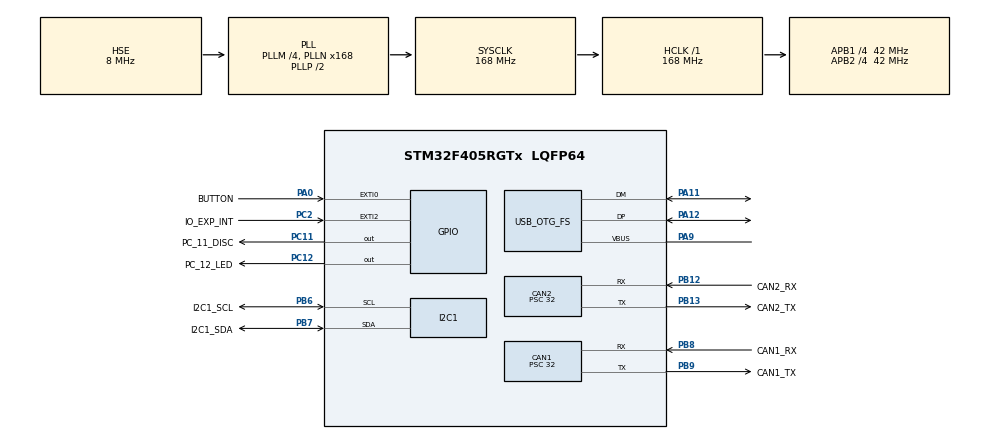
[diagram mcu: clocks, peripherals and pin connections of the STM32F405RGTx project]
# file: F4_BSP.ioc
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CAN1.BS1=CAN_BS1_3TQ
CAN1.BS2=CAN_BS2_5TQ
CAN1.CalculateTimeBit=6857
CAN1.CalculateTimeQuantum=761.9047619047619
CAN1.Prescaler=32
CAN2.BS1=CAN_BS1_3TQ
CAN2.BS2=CAN_BS2_5TQ
CAN2.CalculateTimeBit=6857
CAN2.CalculateTimeQuantum=761.9047619047619
CAN2.Prescaler=32
Dma.I2C1_RX.1.Direction=DMA_PERIPH_TO_MEMORY
Dma.I2C1_RX.1.FIFOMode=DMA_FIFOMODE_DISABLE
Dma.I2C1_RX.1.Instance=DMA1_Stream5
Dma.I2C1_RX.1.MemDataAlignment=DMA_MDATAALIGN_BYTE
Dma.I2C1_RX.1.MemInc=DMA_MINC_ENABLE
Dma.I2C1_RX.1.Mode=DMA_CIRCULAR
Dma.I2C1_RX.1.PeriphDataAlignment=DMA_PDATAALIGN_BYTE
Dma.I2C1_RX.1.PeriphInc=DMA_PINC_DISABLE
Dma.I2C1_RX.1.Priority=DMA_PRIORITY_LOW
Dma.I2C1_TX.0.Direction=DMA_MEMORY_TO_PERIPH
Dma.I2C1_TX.0.FIFOMode=DMA_FIFOMODE_DISABLE
Dma.I2C1_TX.0.Instance=DMA1_Stream6
Dma.I2C1_TX.0.MemDataAlignment=DMA_MDATAALIGN_BYTE
Dma.I2C1_TX.0.MemInc=DMA_MINC_ENABLE
Dma.I2C1_TX.0.Mode=DMA_CIRCULAR
Dma.I2C1_TX.0.PeriphDataAlignment=DMA_PDATAALIGN_BYTE
Dma.I2C1_TX.0.PeriphInc=DMA_PINC_DISABLE
Dma.I2C1_TX.0.Priority=DMA_PRIORITY_LOW
Dma.Request0=I2C1_TX
Dma.Request1=I2C1_RX
I2C1.I2C_Mode=I2C_Fast
Mcu.Family=STM32F4
Mcu.Name=STM32F405RGTx
Mcu.Package=LQFP64
NVIC.CAN1_RX0_IRQn=true\:0\:0\:false\:false\:true\:true
NVIC.CAN2_RX0_IRQn=true\:0\:0\:false\:false\:true\:true
NVIC.DMA1_Stream5_IRQn=true\:0\:0\:false\:false\:true\:true
NVIC.DMA1_Stream6_IRQn=true\:0\:0\:false\:false\:true\:true
NVIC.EXTI0_IRQn=true\:4\:0\:true\:false\:true\:true
NVIC.EXTI2_IRQn=true\:2\:0\:true\:false\:true\:true
NVIC.I2C1_EV_IRQn=true\:0\:0\:false\:false\:true\:true
NVIC.OTG_FS_IRQn=true\:1\:0\:true\:false\:true\:true
NVIC.PriorityGroup=NVIC_PRIORITYGROUP_4
NVIC.RCC_IRQn=true\:0\:0\:false\:false\:true\:true
NVIC.TIM2_IRQn=true\:3\:0\:true\:false\:true\:true
NVIC.TIM3_IRQn=true\:5\:0\:true\:false\:true\:true
PA0-WKUP.GPIO_Label=BUTTON
PA0-WKUP.GPIO_ModeDefaultEXTI=GPIO_MODE_IT_RISING_FALLING
PA0-WKUP.Signal=GPXTI0
PA11.GPIO_Mode=GPIO_MODE_AF_PP
PA11.GPIO_PuPd=GPIO_NOPULL
PA11.GPIO_Speed=GPIO_SPEED_FREQ_VERY_HIGH
PA11.Mode=Device_Only
PA11.Signal=USB_OTG_FS_DM
PA12.GPIO_Speed=GPIO_SPEED_FREQ_VERY_HIGH
PA12.Mode=Device_Only
PA12.Signal=USB_OTG_FS_DP
PA13.Mode=JTAG_5_pins
PA13.Signal=SYS_JTMS-SWDIO
PA14.Mode=JTAG_5_pins
PA14.Signal=SYS_JTCK-SWCLK
PA15.Mode=JTAG_5_pins
PA15.Signal=SYS_JTDI
PA9.Mode=Activate_VBUS
PA9.Signal=USB_OTG_FS_VBUS
PB12.GPIO_Label=CAN2_RX
PB12.GPIO_PuPd=GPIO_PULLUP
PB12.Mode=Slave
PB12.Signal=CAN2_RX
PB13.GPIO_Label=CAN2_TX
PB13.Mode=Slave
PB13.Signal=CAN2_TX
PB3.Mode=JTAG_5_pins
PB3.Signal=SYS_JTDO-SWO
PB4.Mode=JTAG_5_pins
PB4.Signal=SYS_JTRST
PB6.GPIO_Label=I2C1_SCL
PB6.Mode=I2C
PB6.Signal=I2C1_SCL
PB7.GPIO_Label=I2C1_SDA
PB7.Mode=I2C
PB7.Signal=I2C1_SDA
PB8.GPIO_Label=CAN1_RX
PB8.GPIO_PuPd=GPIO_PULLUP
PB8.Mode=Master
PB8.Signal=CAN1_RX
PB9.GPIO_Label=CAN1_TX
PB9.Mode=Master
PB9.Signal=CAN1_TX
PC11.GPIO_Label=PC_11_DISC
PC11.GPIO_ModeDefaultOutputPP=GPIO_MODE_OUTPUT_PP
PC11.GPIO_PuPd=GPIO_NOPULL
PC11.GPIO_Speed=GPIO_SPEED_FREQ_LOW
PC11.PinState=GPIO_PIN_RESET
PC11.Signal=GPIO_Output
PC12.GPIO_Label=PC_12_LED
PC12.GPIO_ModeDefaultOutputPP=GPIO_MODE_OUTPUT_PP
PC12.GPIO_PuPd=GPIO_NOPULL
PC12.GPIO_Speed=GPIO_SPEED_FREQ_LOW
PC12.PinState=GPIO_PIN_RESET
PC12.Signal=GPIO_Output
PC14-OSC32_IN.Signal=RCC_OSC32_IN
PC15-OSC32_OUT.Signal=RCC_OSC32_OUT
PC2.GPIO_Label=IO_EXP_INT
PC2.GPIO_PuPd=GPIO_PULLUP
PC2.Signal=GPXTI2
PH0-OSC_IN.Mode=HSE-External-Oscillator
PH0-OSC_IN.Signal=RCC_OSC_IN
PH1-OSC_OUT.Mode=HSE-External-Oscillator
PH1-OSC_OUT.Signal=RCC_OSC_OUT
ProjectManager.HeapSize=0x200
ProjectManager.StackSize=0x400
ProjectManager.TargetToolchain=SW4STM32
RCC.48MHZClocksFreq_Value=48000000
RCC.AHBFreq_Value=168000000
RCC.APB1CLKDivider=RCC_HCLK_DIV4
RCC.APB1Freq_Value=42000000
RCC.APB1TimFreq_Value=84000000
RCC.APB2CLKDivider=RCC_HCLK_DIV4
RCC.APB2Freq_Value=42000000
RCC.APB2TimFreq_Value=84000000
RCC.CortexFreq_Value=168000000
RCC.HCLKFreq_Value=168000000
RCC.HSE_VALUE=8000000
RCC.HSI_VALUE=16000000
RCC.LSE_VALUE=0.000032767999999999995
RCC.PLLM=4
RCC.PLLN=168
RCC.PLLQ=7
RCC.SYSCLKFreq_VALUE=168000000
RCC.SYSCLKSource=RCC_SYSCLKSOURCE_PLLCLK
RCC.VCOOutputFreq_Value=336000000
TIM2.Period=3999
TIM2.Prescaler=42000
TIM3.Period=9999
TIM3.Prescaler=42000
USB_DEVICE.APP_RX_DATA_SIZE-CDC_FS=64
USB_DEVICE.APP_TX_DATA_SIZE-CDC_FS=64
USB_DEVICE.CLASS_NAME_FS=CDC
USB_DEVICE.LANGID_STRING-CDC_FS=1040
USB_DEVICE.VirtualMode-CDC_FS=Cdc
USB_DEVICE.VirtualModeFS=Cdc_FS
USB_OTG_FS.VirtualMode=Device_Only
USB_OTG_FS.vbus_sensing_enable=ENABLE
VP_RTC_VS_RTC_Activate.Mode=RTC_Enabled
VP_TIM2_VS_ClockSourceINT.Mode=Internal
VP_TIM3_VS_ClockSourceINT.Mode=Internal
VP_USB_DEVICE_VS_USB_DEVICE_CDC_FS.Mode=CDC_FS
board=F4_BSP

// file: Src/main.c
/**
  ******************************************************************************
  * @file           : main.c
  * @brief          : Main program body
  ******************************************************************************
  * This notice applies to any and all portions of this file
  * that are not between comment pairs USER CODE BEGIN and
  * USER CODE END. Other portions of this file, whether
  * inserted by the user or by software development tools
  * are owned by their respective copyright owners.
  *
  * Copyright (c) 2018 STMicroelectronics International N.V.
  * All rights reserved.
  *
  * Redistribution and use in source and binary forms, with or without
  * modification, are permitted, provided that the following conditions are met:
  *
  * 1. Redistribution of source code must retain the above copyright notice,
  *    this list of conditions and the following disclaimer.
  * 2. Redistributions in binary form must reproduce the above copyright notice,
  *    this list of conditions and the following disclaimer in the documentation
  *    and/or other materials provided with the distribution.
  * 3. Neither the name of STMicroelectronics nor the names of other
  *    contributors to this software may be used to endorse or promote products
  *    derived from this software without specific written permission.
  * 4. This software, including modifications and/or derivative works of this
  *    software, must execute solely and exclusively on microcontroller or
  *    microprocessor devices manufactured by or for STMicroelectronics.
  * 5. Redistribution and use of this software other than as permitted under
  *    this license is void and will automatically terminate your rights under
  *    this license.
  *
  * THIS SOFTWARE IS PROVIDED BY STMICROELECTRONICS AND CONTRIBUTORS "AS IS"
  * AND ANY EXPRESS, IMPLIED OR STATUTORY WARRANTIES, INCLUDING, BUT NOT
  * LIMITED TO, THE IMPLIED WARRANTIES OF MERCHANTABILITY, FITNESS FOR A
  * PARTICULAR PURPOSE AND NON-INFRINGEMENT OF THIRD PARTY INTELLECTUAL PROPERTY
  * RIGHTS ARE DISCLAIMED TO THE FULLEST EXTENT PERMITTED BY LAW. IN NO EVENT
  * SHALL STMICROELECTRONICS OR CONTRIBUTORS BE LIABLE FOR ANY DIRECT, INDIRECT,
  * INCIDENTAL, SPECIAL, EXEMPLARY, OR CONSEQUENTIAL DAMAGES (INCLUDING, BUT NOT
  * LIMITED TO, PROCUREMENT OF SUBSTITUTE GOODS OR SERVICES; LOSS OF USE, DATA,
  * OR PROFITS; OR BUSINESS INTERRUPTION) HOWEVER CAUSED AND ON ANY THEORY OF
  * LIABILITY, WHETHER IN CONTRACT, STRICT LIABILITY, OR TORT (INCLUDING
  * NEGLIGENCE OR OTHERWISE) ARISING IN ANY WAY OUT OF THE USE OF THIS SOFTWARE,
  * EVEN IF ADVISED OF THE POSSIBILITY OF SUCH DAMAGE.
  *
  ******************************************************************************
  */
#include "main.h"
#include "stm32f4xx_hal.h"
#include "can.h"
#include "dma.h"
#include "i2c.h"
#include "rtc.h"
#include "tim.h"
#include "usb_device.h"
#include "gpio.h"

/* USER CODE BEGIN Includes */
#include "usbd_cdc_if.h"
#include "mcp23017.h"
#include "Drivers/LSM9DS1-Driver/LSM9DS1_Driver.h"
#include "MotionFX_Manager.h"
#include "motion_fx.h"
#include <math.h>
#include <sys/time.h>
#include <inttypes.h>
/* USER CODE END Includes */

/* USER CODE BEGIN PV */
/* Private variables ---------------------------------------------------------*/
#define SAMPLE_FREQ                     ((uint8_t)100)  /* [Hz] */
#define SAMPLE_PERIOD                   ((uint8_t)10)   /* [ms] */
#define MOTIONFX_ENGINE_DELTATIME       0.01f

#define LCD_BUFF_LEN (100)

typedef enum {
	HIGH_COMPUTATION_MODE = 1,
	LOW_COMPUTATION_MODE = 0,
	TEST_COMPUTATION_MODE= 2,
	TEST_SPEED_MODE = 3
}COMPUTATION_MODE;

typedef enum{
	MODE_9DOF = 1,
	MODE_6DOF = 0,
}DOF;

typedef enum{
	USB_SPEED_TEST = 1,
	I2C_SPEED_TEST =2
}SPEED;

#define ComputationMode					TEST_COMPUTATION_MODE
#define DOF_MODE						MODE_6DOF
#define TEST_MODE						USB_SPEED_TEST

#define HighComputationDecimation		1

HAL_StatusTypeDef mystatus = HAL_OK;

bool secondrow = false;
bool lcl_mems_data_rdy  = false;
bool display_mems_data  = false;
bool send_lcl_mems_data  = false;
bool rmt_mems_data_rdy  = false;
int64_t MEMS_LclData;
int64_t MEMS_RmtData;						//R: Remote

uint8_t dataseq[LCD_BUFF_LEN];
uint8_t dataseq1[LCD_BUFF_LEN];
uint8_t command = 0x0;
uint8_t toggle = 0x0;

MFX_input_t data_in;
MFX_output_t data_out;
MFX_MagCal_input_t mag_in;
MFX_MagCal_output_t mag_out;

int  tempComputation=1;
char data[128];
char timer[32];
int flag=0;
int flag2=0;
int count=1;
int skipped=0;
int id=1;
/* USER CODE END PV */

void SystemClock_Config(void);

/* USER CODE BEGIN PFP */
/* Private function prototypes -----------------------------------------------*/
//extern void initialise_monitor_handles(void);

/* USER CODE END PFP */

int main(void)
{

  /* MCU Configuration----------------------------------------------------------*/

  /* Reset of all peripherals, Initializes the Flash interface and the Systick. */
  HAL_Init();

  /* Configure the system clock */
  SystemClock_Config();

  /* Initialize all configured peripherals */
  MX_GPIO_Init();
  MX_DMA_Init();
  MX_RTC_Init();
  MX_USB_DEVICE_Init();
  MX_CAN1_Init();
  MX_CAN2_Init();
  MX_I2C1_Init();
  MX_TIM2_Init();
  MX_TIM3_Init();
  /* USER CODE BEGIN 2 */
  HAL_NVIC_ClearPendingIRQ(EXTI0_IRQn);
  HAL_NVIC_ClearPendingIRQ(EXTI1_IRQn);
  HAL_NVIC_ClearPendingIRQ(EXTI2_IRQn);
  HAL_NVIC_ClearPendingIRQ(EXTI3_IRQn);
  HAL_NVIC_ClearPendingIRQ(EXTI4_IRQn);
  HAL_NVIC_ClearPendingIRQ(I2C1_EV_IRQn);
  HAL_NVIC_ClearPendingIRQ(TIM3_IRQn);

  HAL_GPIO_WritePin(PC_11_DISC_GPIO_Port, PC_11_DISC_Pin, GPIO_PIN_RESET);	//Pull-up Enable on USBDP (Only for Olimex STM32-H405 Board)

  __CRC_CLK_ENABLE();

  LSM9DS1_State_Connection testConnection= LSM9DS1_ERROR;
  testConnection=LSM9DS1_IsConnected();
  LSM9DS1_XLG_TurnOff();

  if(DOF_MODE==MODE_9DOF){
	  LSM9DS1_XLG_READ start= LSM9DS1_XLGM_Start(119,40,245,8,8);
	  MotionFX_manager_init(MODE_9DOF);
  }
  else{
	  LSM9DS1_XLG_READ start= LSM9DS1_XLG_Start(119,245,2);
	  MotionFX_manager_init(MODE_6DOF);
  }

  /* USER CODE END 2 */

  /* Infinite loop */
  /* USER CODE BEGIN WHILE */

  	 //start when button is pressed
	 while (HAL_GPIO_ReadPin(GPIOA, GPIO_PIN_0)){};

	 if(ComputationMode == TEST_COMPUTATION_MODE){
		 // Use test computation mode
		 TestComputationMode();
	 }
	 else if (ComputationMode == HIGH_COMPUTATION_MODE){
		// Use in High computation mode
		 HighComputationMode();
	 }
	 else if (ComputationMode == LOW_COMPUTATION_MODE){

		 LowComputationMode();
	 }

	 else if(ComputationMode == TEST_SPEED_MODE){

		 SpeedTestMode();
	 }

  /* USER CODE END WHILE */

}

void SystemClock_Config(void)
{

  RCC_OscInitTypeDef RCC_OscInitStruct;
  RCC_ClkInitTypeDef RCC_ClkInitStruct;
  RCC_PeriphCLKInitTypeDef PeriphClkInitStruct;

    /**Configure the main internal regulator output voltage
    */
  __HAL_RCC_PWR_CLK_ENABLE();

  __HAL_PWR_VOLTAGESCALING_CONFIG(PWR_REGULATOR_VOLTAGE_SCALE1);

    /**Initializes the CPU, AHB and APB busses clocks
    */
  RCC_OscInitStruct.OscillatorType = RCC_OSCILLATORTYPE_LSI|RCC_OSCILLATORTYPE_HSE;
  RCC_OscInitStruct.HSEState = RCC_HSE_ON;
  RCC_OscInitStruct.LSIState = RCC_LSI_ON;
  RCC_OscInitStruct.PLL.PLLState = RCC_PLL_ON;
  RCC_OscInitStruct.PLL.PLLSource = RCC_PLLSOURCE_HSE;
  RCC_OscInitStruct.PLL.PLLM = 4;
  RCC_OscInitStruct.PLL.PLLN = 168;
  RCC_OscInitStruct.PLL.PLLP = RCC_PLLP_DIV2;
  RCC_OscInitStruct.PLL.PLLQ = 7;
  if (HAL_RCC_OscConfig(&RCC_OscInitStruct) != HAL_OK)
  {
    _Error_Handler(__FILE__, __LINE__);
  }

    /**Initializes the CPU, AHB and APB busses clocks
    */
  RCC_ClkInitStruct.ClockType = RCC_CLOCKTYPE_HCLK|RCC_CLOCKTYPE_SYSCLK
                              |RCC_CLOCKTYPE_PCLK1|RCC_CLOCKTYPE_PCLK2;
  RCC_ClkInitStruct.SYSCLKSource = RCC_SYSCLKSOURCE_PLLCLK;
  RCC_ClkInitStruct.AHBCLKDivider = RCC_SYSCLK_DIV1;
  RCC_ClkInitStruct.APB1CLKDivider = RCC_HCLK_DIV4;
  RCC_ClkInitStruct.APB2CLKDivider = RCC_HCLK_DIV4;

  if (HAL_RCC_ClockConfig(&RCC_ClkInitStruct, FLASH_LATENCY_5) != HAL_OK)
  {
    _Error_Handler(__FILE__, __LINE__);
  }

  PeriphClkInitStruct.PeriphClockSelection = RCC_PERIPHCLK_RTC;
  PeriphClkInitStruct.RTCClockSelection = RCC_RTCCLKSOURCE_LSI;
  if (HAL_RCCEx_PeriphCLKConfig(&PeriphClkInitStruct) != HAL_OK)
  {
    _Error_Handler(__FILE__, __LINE__);
  }

    /**Configure the Systick interrupt time
    */
  HAL_SYSTICK_Config(HAL_RCC_GetHCLKFreq()/1000);

    /**Configure the Systick
    */
  HAL_SYSTICK_CLKSourceConfig(SYSTICK_CLKSOURCE_HCLK);

  /* SysTick_IRQn interrupt configuration */
  HAL_NVIC_SetPriority(SysTick_IRQn, 0, 0);
}

/* USER CODE BEGIN 4 */

void handler(){

	flag=1;
}

void magCall(){
	flag2=1;
}

void HighComputationMode(){

	 HAL_TIM_Base_Start_IT(&htim3);
	 		while(1)
	 			{
	 			  if(flag==1)
	 			  	{

	 				  HAL_NVIC_DisableIRQ(TIM3_IRQn);

	 				  //prepare packet
	 				  if(DOF_MODE == MODE_6DOF)
	 				  	{
	 					  LSM9DS1_Read_XLG(&data_in,1);
	 					  MotionFX_manager_run(&data_in,&data_out,MFX_DELTATIME);
	 					  snprintf(data, 25, "%3.1f;%3.1f;%3.1f\n",
	 										  data_out.rotation_6X[0],data_out.rotation_6X[1],data_out.rotation_6X[2]);
	 				  	}
	 				  	else
	 				  	{
	 				  		LSM9DS1_Read_XLGM(&data_in,1);
	 				  		MotionFX_manager_run(&data_in,&data_out,MFX_DELTATIME);
	 				  		snprintf(data, 25, "%3.1f;%3.1f;%3.1f\n",
	 				  			 			 	data_out.rotation_9X[0],data_out.rotation_9X[1],data_out.rotation_9X[2]);
	 				  	}

	 			  	  //transmit data
	 			  	  CDC_Transmit_FS((uint8_t *)data,strlen(data));
	 			  	  flag=0;
	 			  	  HAL_NVIC_EnableIRQ(TIM3_IRQn);
	 			  	  }

	 			}

}

void LowComputationMode(){

	HAL_TIM_Base_Start_IT(&htim3);
			while(1)
				{
				  if(flag==1)
				  	{

					  HAL_NVIC_DisableIRQ(TIM3_IRQn);

					  if(DOF_MODE == MODE_6DOF)
					  	{

						  LSM9DS1_Read_XLG(&data_in,1);

						  snprintf(data, 64, "%.3f;%.3f;%.3f|%3.1f;%3.1f;%3.1f\n",
											   data_in.acc[0], data_in.acc[1], data_in.acc[2],
											   data_in.gyro[0],data_in.gyro[1],data_in.gyro[2]);
					  	}
					  	else
					  	{
					  		 LSM9DS1_Read_XLGM(&data_in,1);
					  		 snprintf(data, 64, "%.3f;%.3f;%.3f|%3.1f;%3.1f;%3.1f|%3.1f;%3.1f;%3.1f\n",
					  							data_in.acc[0], data_in.acc[1], data_in.acc[2],
					  							data_in.gyro[0],data_in.gyro[1],data_in.gyro[2],
												data_in.mag[0],data_in.mag[1],data_in.mag[2]);
					  	}

				  	  //transmit data
				  	  CDC_Transmit_FS((uint8_t *)data,strlen(data));
				  	  flag=0;
				  	  HAL_NVIC_EnableIRQ(TIM3_IRQn);
				  	  }
				}

}

void TestComputationMode(){

	HAL_TIM_Base_Start_IT(&htim3);
	HAL_TIM_Base_Start_IT(&htim2);

		while(1)
			{
			  if(flag==1)
			  	{

				  HAL_NVIC_DisableIRQ(TIM3_IRQn);

				  //prepare packet
				  if(DOF_MODE == MODE_6DOF)
				  	{
					  LSM9DS1_Read_XLG(&data_in,1);
					  MotionFX_manager_run(&data_in,&data_out,MFX_DELTATIME);
					  snprintf(data, 128, "%.3f;%.3f;%.3f|%.3f;%.3f;%.3f|%3.1f;%3.1f;%3.1f\n",
										   data_in.acc[0], data_in.acc[1], data_in.acc[2],
										   data_in.gyro[0],data_in.gyro[1],data_in.gyro[2],
										   data_out.rotation_6X[0],data_out.rotation_6X[1],data_out.rotation_6X[2]);
				  	}
				  	else
				  	{

				  		LSM9DS1_Read_XLGM(&data_in,1);
				  		if(flag2==1){
				  		  HAL_NVIC_DisableIRQ(TIM2_IRQn);
				  			mag_in.mag[0]=data_in.mag[0]/50;
				  			mag_in.mag[1]=data_in.mag[1]/50;
				  			mag_in.mag[2]=data_in.mag[2]/50;
				  			mag_in.time_stamp=0;
				  			MotionFX_MagCal_run(&mag_in);
				  			MotionFX_MagCal_getParams(&mag_out);
				  			if(mag_out.cal_quality !=  MFX_MAGCALPOOR){
				  				data_in.mag[0]=mag_in.mag[0]-mag_out.hi_bias[0];
				  				data_in.mag[1]=mag_in.mag[1]-mag_out.hi_bias[1];
				  				data_in.mag[2]=mag_in.mag[2]-mag_out.hi_bias[2];
				  			}

				  		flag2=0;
				  		HAL_NVIC_EnableIRQ(TIM2_IRQn);
				  		}

				  		MotionFX_manager_run(&data_in,&data_out,MFX_DELTATIME);
				  		snprintf(data, 128, "%.3f;%.3f;%.3f|%3.1f;%3.1f;%3.1f|%3.1f;%3.1f;%3.1f|%3.1f;%3.1f;%3.1f\n",
				  							data_in.acc[0], data_in.acc[1], data_in.acc[2],
				  							data_in.gyro[0],data_in.gyro[1],data_in.gyro[2],
											data_in.mag[0],data_in.mag[1],data_in.mag[2],
				  							data_out.rotation_9X[0],data_out.rotation_9X[1],data_out.rotation_9X[2]);
				  	}

			  	  //transmit data
			  	  CDC_Transmit_FS((uint8_t *)data,strlen(data));
			  	  flag=0;

			  	  HAL_NVIC_EnableIRQ(TIM3_IRQn);
			  	  }

			}

}

void SpeedTestMode(){

	//Test I2C speed
	 uint32_t t0,t1;
	 t1=0;
	 id=0;
	 int lost=0;
	 uint8_t result;
	 if(TEST_MODE == USB_SPEED_TEST){
		 t0=HAL_GetTick();
		 	 while(1){
		 		     if(id<1000){

		 		    	     if(!I2C_ReadData(LSM9DS1_I2C_BADD,LSM9DS1_WHO_AM_I,&result,1)){
		 		    	    	 if( result == LSM9DS1_WHO_AM_I_VALUE)
		 		    	    		 				  id++;
		 		    	     }
		 		 			  else
		 		 			  {
		 		 				  lost++;
		 		 			  }

		 		 			  if(id==1000)
		 		 			  {
		 		 				  t1=HAL_GetTick()-t0;
		 		 				  HAL_Delay(2);
		 		 				  snprintf(data, 10, "%Lu",t1);
		 		 				  CDC_Transmit_FS((uint8_t *)data,strlen(data));
		 		 			  }
		 		 		  }
		 	 }
	 }
	 else{
		 //Test usb CDC speed
		 t0=HAL_GetTick();
		 while(1){
			 snprintf(data, 10, "%d|%d\n",id,lost);
			 if(id<1000){
				if(CDC_Transmit_FS((uint8_t *)data,strlen(data))== USBD_OK){
					id++;
				}
				else{
					 lost++;
				}
				if(id==1000){
					t1=HAL_GetTick()-t0;
					HAL_Delay(2);
					snprintf(data, 10, "%Lu\n",t1);
					CDC_Transmit_FS((uint8_t *)data,strlen(data));
						  }
					  }
				  }

	 }

}
/*! ------------------------------------------------------------------------------------------------------------------
 * Function: process_timer3_irq(void)
 *
 * Timer3 Interrupt Handler; Executed when Timer3 expires
 */
/* USER CODE END 4 */

void _Error_Handler(char *file, int line)
{
  while(1)
  {
  }
}

/************************ (C) COPYRIGHT STMicroelectronics *****END OF FILE****/
